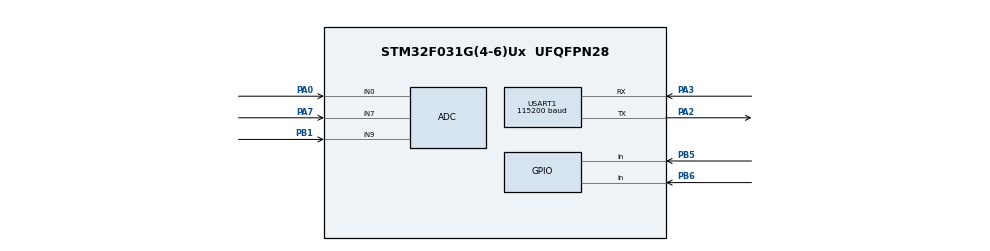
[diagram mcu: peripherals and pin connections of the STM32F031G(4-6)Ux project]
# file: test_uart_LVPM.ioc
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ADC.SamplingTime=ADC_SAMPLETIME_1CYCLE_5
Mcu.Family=STM32F0
Mcu.Name=STM32F031G(4-6)Ux
Mcu.Package=UFQFPN28
PA0.Mode=IN0
PA0.Signal=ADC_IN0
PA13.Mode=Serial_Wire
PA13.Signal=SYS_SWDIO
PA14.Mode=Serial_Wire
PA14.Signal=SYS_SWCLK
PA2.Mode=Asynchronous
PA2.Signal=USART1_TX
PA3.Mode=Asynchronous
PA3.Signal=USART1_RX
PA7.Mode=IN7
PA7.Signal=ADC_IN7
PB1.Mode=IN9
PB1.Signal=ADC_IN9
PB5.Signal=GPIO_Input
PB6.Signal=GPIO_Input
PF0-OSC_IN.Mode=HSE-External-Oscillator
PF0-OSC_IN.Signal=RCC_OSC_IN
PF1-OSC_OUT.Mode=HSE-External-Oscillator
PF1-OSC_OUT.Signal=RCC_OSC_OUT
ProjectManager.HeapSize=0x200
ProjectManager.StackSize=0x400
ProjectManager.TargetToolchain=STM32CubeIDE
USART1.BaudRate=115200
USART1.VirtualMode-Asynchronous=VM_ASYNC
board=custom

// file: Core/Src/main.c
/* USER CODE BEGIN Header */
/**
  ******************************************************************************
  * @file           : main.c
  * @brief          : Main program body
  ******************************************************************************
  * @attention
  *
  * Copyright (c) 2024 STMicroelectronics.
  * All rights reserved.
  *
  * This software is licensed under terms that can be found in the LICENSE file
  * in the root directory of this software component.
  * If no LICENSE file comes with this software, it is provided AS-IS.
  *
  ******************************************************************************
  */
/* USER CODE END Header */
#include "main.h"

/* USER CODE BEGIN Includes */
#include <stdio.h>
#include <inttypes.h>
#include <string.h>
//#include <stdbool.h>

/* USER CODE END Includes */

ADC_HandleTypeDef hadc;

UART_HandleTypeDef huart1;

void SystemClock_Config(void);
static void MX_GPIO_Init(void);
static void MX_USART1_UART_Init(void);
static void MX_ADC_Init(void);

int main(void)
{
  /* USER CODE BEGIN 1 */

  int32_t raw_c, raw_v;
  int16_t DutyCycle;
  int32_t VoltageX10, CurrentX100;
  uint8_t OC, AMC_Diag;

  // czy to muszą byc double?
  double avg_c = 0.0;
  double avg_v = 0.0;

  uint8_t iterator = 0;

  // FOR DUTY CYCLE DETECTION

  /* USER CODE END 1 */

  /* MCU Configuration--------------------------------------------------------*/

  /* Reset of all peripherals, Initializes the Flash interface and the Systick. */
  HAL_Init();

  /* Configure the system clock */
  SystemClock_Config();

  /* Initialize all configured peripherals */
  MX_GPIO_Init();
  MX_USART1_UART_Init();
  MX_ADC_Init();
  /* USER CODE BEGIN 2 */
  HAL_ADCEx_Calibration_Start(&hadc);
//  HAL_ADC_Start(&hadc);

  /* USER CODE END 2 */

  /* Infinite loop */
  /* USER CODE BEGIN WHILE */
  while (1)
  {

	  // CURRENT MEASUREMENT
	  ADC1->CHSELR = ADC_CHSELR_CHSEL7;
	  HAL_ADC_Start(&hadc);
	  HAL_ADC_PollForConversion(&hadc, 1000);
	  raw_c = HAL_ADC_GetValue(&hadc);
	  HAL_ADC_Stop(&hadc);

	  // VOLTAGE MEASUREMENT
	  ADC1->CHSELR = ADC_CHSELR_CHSEL9;
	  HAL_ADC_Start(&hadc);
	  HAL_ADC_PollForConversion(&hadc, 1000);
	  raw_v = HAL_ADC_GetValue(&hadc);
	  HAL_ADC_Stop(&hadc);

	  // READING DUTY CYCLE OF PWM (TMCS DIAG)
	  ADC1->CHSELR = ADC_CHSELR_CHSEL0;
	  HAL_ADC_Start(&hadc);
	  HAL_ADC_PollForConversion(&hadc, 10);
	  DutyCycle = HAL_ADC_GetValue(&hadc);
	  HAL_ADC_Stop(&hadc);

	  // READING DIGITAL INPUTS OF DIAGNOSTIC MODULES
	  AMC_Diag = HAL_GPIO_ReadPin(GPIOB, GPIO_PIN_6);
	  OC = HAL_GPIO_ReadPin(GPIOB, GPIO_PIN_7);

	  // AVERAGING
	  avg_c = (avg_c * 0.6) + (raw_c * 0.4);
	  avg_v = (avg_v * 0.6) + (raw_v * 0.4);

	  // CALCULATIONS
	  VoltageX10  = ((int32_t)avg_v*33*668*2)/4096;
	  CurrentX100 = (((int32_t)avg_c*3300*100/4096)-165000)*20;

	  iterator++;

	  if(iterator==255)
	  {

		  /* VOLTAGE DEBUG */
//		  char msg1[64];
//		  sprintf(msg1, "raw_v:%" PRIi32 "; voltage:%" PRIi32" \r\n", raw_v, VoltageX10);
//		  HAL_UART_Transmit(&huart1, (uint8_t*)msg1, strlen(msg1), HAL_MAX_DELAY);

		  /* CURRENT DEBUG */
//		  char msg2[64];
//		  sprintf(msg1, "raw_c:%" PRIi32 "; voltage:%" PRIi32" \r\n", rawC, VoltageX10);
//		  HAL_UART_Transmit(&huart1, (uint8_t*)msg2, strlen(msg2), HAL_MAX_DELAY);

		  /* DEFAULT TRANSMISSION */
		  VoltageX10 = 0;
		  char msg[64];
		  sprintf(msg, "%" PRIi32 ";%" PRIi32 ";%u;%u;%" PRIi16 "\r\n", VoltageX10,CurrentX100,(unsigned)OC,(unsigned)AMC_Diag,DutyCycle);
		  HAL_UART_Transmit(&huart1, (uint8_t*)msg, strlen(msg), HAL_MAX_DELAY);

		  iterator = 0;
	  }

    /* USER CODE END WHILE */

  }
}

void SystemClock_Config(void)
{
  RCC_OscInitTypeDef RCC_OscInitStruct = {0};
  RCC_ClkInitTypeDef RCC_ClkInitStruct = {0};
  RCC_PeriphCLKInitTypeDef PeriphClkInit = {0};

  /** Initializes the RCC Oscillators according to the specified parameters
  * in the RCC_OscInitTypeDef structure.
  */
  RCC_OscInitStruct.OscillatorType = RCC_OSCILLATORTYPE_HSI|RCC_OSCILLATORTYPE_HSI14;
  RCC_OscInitStruct.HSIState = RCC_HSI_ON;
  RCC_OscInitStruct.HSI14State = RCC_HSI14_ON;
  RCC_OscInitStruct.HSICalibrationValue = RCC_HSICALIBRATION_DEFAULT;
  RCC_OscInitStruct.HSI14CalibrationValue = 16;
  RCC_OscInitStruct.PLL.PLLState = RCC_PLL_NONE;
  if (HAL_RCC_OscConfig(&RCC_OscInitStruct) != HAL_OK)
  {
    Error_Handler();
  }

  /** Initializes the CPU, AHB and APB buses clocks
  */
  RCC_ClkInitStruct.ClockType = RCC_CLOCKTYPE_HCLK|RCC_CLOCKTYPE_SYSCLK
                              |RCC_CLOCKTYPE_PCLK1;
  RCC_ClkInitStruct.SYSCLKSource = RCC_SYSCLKSOURCE_HSI;
  RCC_ClkInitStruct.AHBCLKDivider = RCC_SYSCLK_DIV1;
  RCC_ClkInitStruct.APB1CLKDivider = RCC_HCLK_DIV1;

  if (HAL_RCC_ClockConfig(&RCC_ClkInitStruct, FLASH_LATENCY_0) != HAL_OK)
  {
    Error_Handler();
  }
  PeriphClkInit.PeriphClockSelection = RCC_PERIPHCLK_USART1;
  PeriphClkInit.Usart1ClockSelection = RCC_USART1CLKSOURCE_PCLK1;
  if (HAL_RCCEx_PeriphCLKConfig(&PeriphClkInit) != HAL_OK)
  {
    Error_Handler();
  }
}

static void MX_ADC_Init(void)
{

  ADC_ChannelConfTypeDef sConfig = {0};

  /** Configure the global features of the ADC (Clock, Resolution, Data Alignment and number of conversion)
  */
  hadc.Instance = ADC1;
  hadc.Init.ClockPrescaler = ADC_CLOCK_ASYNC_DIV1;
  hadc.Init.Resolution = ADC_RESOLUTION_12B;
  hadc.Init.DataAlign = ADC_DATAALIGN_RIGHT;
  hadc.Init.ScanConvMode = ADC_SCAN_DIRECTION_FORWARD;
  hadc.Init.EOCSelection = ADC_EOC_SINGLE_CONV;
  hadc.Init.LowPowerAutoWait = DISABLE;
  hadc.Init.LowPowerAutoPowerOff = DISABLE;
  hadc.Init.ContinuousConvMode = DISABLE;
  hadc.Init.DiscontinuousConvMode = DISABLE;
  hadc.Init.ExternalTrigConv = ADC_SOFTWARE_START;
  hadc.Init.ExternalTrigConvEdge = ADC_EXTERNALTRIGCONVEDGE_NONE;
  hadc.Init.DMAContinuousRequests = DISABLE;
  hadc.Init.Overrun = ADC_OVR_DATA_PRESERVED;
  if (HAL_ADC_Init(&hadc) != HAL_OK)
  {
    Error_Handler();
  }

  /** Configure for the selected ADC regular channel to be converted.
  */
  sConfig.Channel = ADC_CHANNEL_0;
  sConfig.Rank = ADC_RANK_CHANNEL_NUMBER;
  sConfig.SamplingTime = ADC_SAMPLETIME_1CYCLE_5;
  if (HAL_ADC_ConfigChannel(&hadc, &sConfig) != HAL_OK)
  {
    Error_Handler();
  }

  /** Configure for the selected ADC regular channel to be converted.
  */
  sConfig.Channel = ADC_CHANNEL_7;
  if (HAL_ADC_ConfigChannel(&hadc, &sConfig) != HAL_OK)
  {
    Error_Handler();
  }

  /** Configure for the selected ADC regular channel to be converted.
  */
  sConfig.Channel = ADC_CHANNEL_9;
  if (HAL_ADC_ConfigChannel(&hadc, &sConfig) != HAL_OK)
  {
    Error_Handler();
  }

}

static void MX_USART1_UART_Init(void)
{

  huart1.Instance = USART1;
  huart1.Init.BaudRate = 115200;
  huart1.Init.WordLength = UART_WORDLENGTH_8B;
  huart1.Init.StopBits = UART_STOPBITS_1;
  huart1.Init.Parity = UART_PARITY_NONE;
  huart1.Init.Mode = UART_MODE_TX_RX;
  huart1.Init.HwFlowCtl = UART_HWCONTROL_NONE;
  huart1.Init.OverSampling = UART_OVERSAMPLING_16;
  huart1.Init.OneBitSampling = UART_ONE_BIT_SAMPLE_DISABLE;
  huart1.AdvancedInit.AdvFeatureInit = UART_ADVFEATURE_NO_INIT;
  if (HAL_UART_Init(&huart1) != HAL_OK)
  {
    Error_Handler();
  }

}

static void MX_GPIO_Init(void)
{
  GPIO_InitTypeDef GPIO_InitStruct = {0};

  /* GPIO Ports Clock Enable */
  __HAL_RCC_GPIOF_CLK_ENABLE();
  __HAL_RCC_GPIOA_CLK_ENABLE();
  __HAL_RCC_GPIOB_CLK_ENABLE();

  /*Configure GPIO pins : PB5 PB6 */
  GPIO_InitStruct.Pin = GPIO_PIN_5|GPIO_PIN_6;
  GPIO_InitStruct.Mode = GPIO_MODE_INPUT;
  GPIO_InitStruct.Pull = GPIO_NOPULL;
  HAL_GPIO_Init(GPIOB, &GPIO_InitStruct);

}

void Error_Handler(void)
{
  __disable_irq();
  while (1)
  {
  }
}
